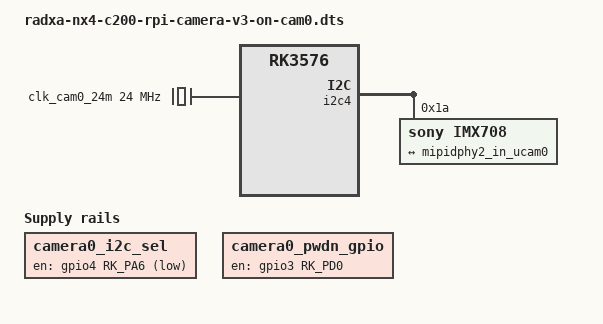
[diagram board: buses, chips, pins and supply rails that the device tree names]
/dts-v1/;
/plugin/;

#include <dt-bindings/gpio/gpio.h>
#include <dt-bindings/pinctrl/rockchip.h>
#include "rk3576-csi2_dphy2.dtsi"

/ {
	metadata {
		title ="Enable Raspberry Pi Camera v3 on CAM0";
		compatible = "radxa,nx4-c200";
		category = "camera";
		exclusive = "GPIO3_D0", "GPIO4_A6", "csi2_dphy2", "i2c4@1a";
		description = "Enable Raspberry Pi Camera v3 on CAM0.";
	};
};

&{/} {
	camera0_i2c_sel: camera0-i2c-sel {
		compatible = "regulator-fixed";
		regulator-name = "camera0_i2c_sel";
		regulator-always-on;
		regulator-boot-on;
		enable-active-low;
		gpio = <&gpio4 RK_PA6 GPIO_ACTIVE_LOW>;
		pinctrl-names = "default";
		pinctrl-0 = <&cam0_i2c_sel_gpio>;
	};

	camera0_pwdn_gpio: camera0-pwdn-gpio {
		compatible = "regulator-fixed";
		regulator-name = "camera0_pwdn_gpio";
		regulator-always-on;
		regulator-boot-on;
		enable-active-high;
		gpio = <&gpio3 RK_PD0 GPIO_ACTIVE_HIGH>;
		pinctrl-names = "default";
		pinctrl-0 = <&cam0_pwdn_gpio>;
	};

	clk_cam0_24m: external-camera0-clock-24m {
		compatible = "fixed-clock";
		clock-frequency = <24000000>;
		clock-output-names = "clk_cam0_24m";
		#clock-cells = <0>;
	};
};

&i2c4 {
	status = "okay";
	pinctrl-0 = <&i2c4m2_xfer>;
	#address-cells = <1>;
	#size-cells = <0>;

	imx708: imx708@1a {
		status = "okay";
		compatible = "sony,imx708";
		reg = <0x1a>;
		clocks = <&clk_cam0_24m>;
		clock-names = "inclk";
		rockchip,camera-module-index = <0>;
		rockchip,camera-module-facing = "back";
		rockchip,camera-module-name = "rpi-camera-v3";
		rockchip,camera-module-lens-name = "default";

		port {
			mipidphy2_out0: endpoint {
				remote-endpoint = <&mipidphy2_in_ucam0>;
				data-lanes = <1 2>;
				link-frequencies = /bits/ 64 <450000000>;
			};
		};
	};
};

&pinctrl {
	camera {
		cam0_pwdn_gpio: cam0-pwdn-gpio {
			rockchip,pins = <3 RK_PD0 RK_FUNC_GPIO &pcfg_pull_up>;
		};

		cam0_i2c_sel_gpio: cam0-i2c-sel-gpio {
			rockchip,pins = <4 RK_PA6 RK_FUNC_GPIO &pcfg_pull_up>;
		};
	};
};
